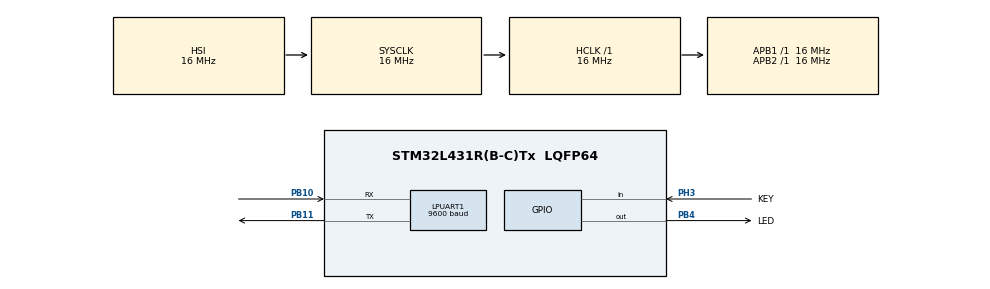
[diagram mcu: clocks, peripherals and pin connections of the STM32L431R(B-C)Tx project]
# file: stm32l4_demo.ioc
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Dma.LPUART_RX.0.Direction=DMA_PERIPH_TO_MEMORY
Dma.LPUART_RX.0.Instance=DMA2_Channel7
Dma.LPUART_RX.0.MemDataAlignment=DMA_MDATAALIGN_BYTE
Dma.LPUART_RX.0.MemInc=DMA_MINC_ENABLE
Dma.LPUART_RX.0.Mode=DMA_CIRCULAR
Dma.LPUART_RX.0.PeriphDataAlignment=DMA_PDATAALIGN_BYTE
Dma.LPUART_RX.0.PeriphInc=DMA_PINC_DISABLE
Dma.LPUART_RX.0.Priority=DMA_PRIORITY_LOW
Dma.LPUART_TX.1.Direction=DMA_MEMORY_TO_PERIPH
Dma.LPUART_TX.1.Instance=DMA2_Channel6
Dma.LPUART_TX.1.MemDataAlignment=DMA_MDATAALIGN_BYTE
Dma.LPUART_TX.1.MemInc=DMA_MINC_ENABLE
Dma.LPUART_TX.1.Mode=DMA_NORMAL
Dma.LPUART_TX.1.PeriphDataAlignment=DMA_PDATAALIGN_BYTE
Dma.LPUART_TX.1.PeriphInc=DMA_PINC_DISABLE
Dma.LPUART_TX.1.Priority=DMA_PRIORITY_LOW
Dma.Request0=LPUART_RX
Dma.Request1=LPUART_TX
IWDG.Prescaler=IWDG_PRESCALER_128
IWDG.Reload=2500
IWDG.Window=2500
LPUART1.BaudRate=9600
LPUART1.WordLength=UART_WORDLENGTH_8B
Mcu.Family=STM32L4
Mcu.Name=STM32L431R(B-C)Tx
Mcu.Package=LQFP64
NVIC.DMA2_Channel6_IRQn=true\:8\:0\:true\:false\:true\:false\:true\:true
NVIC.DMA2_Channel7_IRQn=true\:7\:0\:true\:false\:true\:false\:true\:true
NVIC.LPUART1_IRQn=true\:6\:0\:true\:false\:true\:true\:true\:true
NVIC.PriorityGroup=NVIC_PRIORITYGROUP_4
NVIC.RTC_WKUP_IRQn=true\:1\:0\:true\:false\:true\:true\:true\:true
PA13\ (JTMS-SWDIO).Mode=Serial_Wire
PA13\ (JTMS-SWDIO).Signal=SYS_JTMS-SWDIO
PA14\ (JTCK-SWCLK).Mode=Serial_Wire
PA14\ (JTCK-SWCLK).Signal=SYS_JTCK-SWCLK
PB10.GPIO_Speed=GPIO_SPEED_FREQ_LOW
PB10.Mode=Asynchronous
PB10.Signal=LPUART1_RX
PB11.GPIO_Speed=GPIO_SPEED_FREQ_LOW
PB11.Mode=Asynchronous
PB11.Signal=LPUART1_TX
PB4\ (NJTRST).GPIO_Label=LED
PB4\ (NJTRST).GPIO_PuPd=GPIO_PULLUP
PB4\ (NJTRST).Signal=GPIO_Output
PC14-OSC32_IN\ (PC14).Mode=LSE-External-Oscillator
PC14-OSC32_IN\ (PC14).Signal=RCC_OSC32_IN
PC15-OSC32_OUT\ (PC15).Mode=LSE-External-Oscillator
PC15-OSC32_OUT\ (PC15).Signal=RCC_OSC32_OUT
PH3-BOOT0.GPIO_Label=KEY
PH3-BOOT0.Signal=GPIO_Input
ProjectManager.HeapSize=0x400
ProjectManager.StackSize=0x800
ProjectManager.TargetToolchain=Makefile
RCC.ADCFreq_Value=64000000
RCC.AHBFreq_Value=16000000
RCC.APB1Freq_Value=16000000
RCC.APB1TimFreq_Value=16000000
RCC.APB2Freq_Value=16000000
RCC.APB2TimFreq_Value=16000000
RCC.CortexFreq_Value=16000000
RCC.HCLKFreq_Value=16000000
RCC.HSE_VALUE=8000000
RCC.HSI48_VALUE=48000000
RCC.HSI_VALUE=16000000
RCC.LPUART1CLockSelection=RCC_LPUART1CLKSOURCE_LSE
RCC.MSIClockRange=RCC_MSIRANGE_9
RCC.MSI_VALUE=24000000
RCC.PLLN=10
RCC.PLLSourceVirtual=RCC_PLLSOURCE_HSI
RCC.RTCClockSelection=RCC_RTCCLKSOURCE_LSE
RCC.SYSCLKFreq_VALUE=16000000
RCC.SYSCLKSource=RCC_SYSCLKSOURCE_HSI
RCC.VCOOutputFreq_Value=160000000
RTC.AsynchPrediv=15
RTC.Format=RTC_FORMAT_BIN
RTC.SynchPrediv=2047
VP_CRC_VS_CRC.Mode=CRC_Activate
VP_IWDG_VS_IWDG.Mode=IWDG_Activate
VP_RTC_VS_RTC_Activate.Mode=RTC_Enabled
VP_RTC_VS_RTC_Calendar.Mode=RTC_Calendar
VP_RTC_VS_RTC_WakeUp_intern.Mode=WakeUp
board=custom

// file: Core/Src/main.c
/* USER CODE BEGIN Header */
/**
  ******************************************************************************
  * @file           : main.c
  * @brief          : Main program body
  ******************************************************************************
  * @attention
  *
  * Copyright (c) 2023 STMicroelectronics.
  * All rights reserved.
  *
  * This software is licensed under terms that can be found in the LICENSE file
  * in the root directory of this software component.
  * If no LICENSE file comes with this software, it is provided AS-IS.
  *
  ******************************************************************************
  */
/* USER CODE END Header */
#include "main.h"
#include "crc.h"
#include "dma.h"
#include "iwdg.h"
#include "usart.h"
#include "rtc.h"
#include "gpio.h"

/* USER CODE BEGIN Includes */
#include <stdio.h>
#include "device.h"
#include "update.h"
#include "tasks.h"
#include "power.h"
#include "common.h"
/* USER CODE END Includes */

void SystemClock_Config(void);

int main(void)
{
  /* USER CODE BEGIN 1 */
  SCB->VTOR = ADDR_BASE_APP;
  /* USER CODE END 1 */

  /* MCU Configuration--------------------------------------------------------*/

  /* Reset of all peripherals, Initializes the Flash interface and the Systick. */
  HAL_Init();

  /* Configure the system clock */
  SystemClock_Config();

  /* Initialize all configured peripherals */
  MX_GPIO_Init();
  MX_DMA_Init();
  MX_LPUART1_UART_Init();
  MX_RTC_Init();
  MX_IWDG_Init();
  MX_CRC_Init();
  /* USER CODE BEGIN 2 */
  uart_config();
  boot_param_check_upgrade();
  LL_IWDG_ReloadCounter(IWDG);
  LL_GPIO_SetOutputPin(LED_GPIO_Port, LED_Pin);
  //rtc_wake_init();
  tasks_init();
  frame_parse_register(FRAME_TYPE_DEBUG, print_frame);
  LL_IWDG_ReloadCounter(IWDG);
  /* USER CODE END 2 */

  /* Infinite loop */
  /* USER CODE BEGIN WHILE */
  while (1)
  {
    uart_frame_parse();
    /* USER CODE END WHILE */

    /* USER CODE BEGIN 3 */
    tasks_poll();
  }
  /* USER CODE END 3 */
}

void SystemClock_Config(void)
{
  RCC_OscInitTypeDef RCC_OscInitStruct = {0};
  RCC_ClkInitTypeDef RCC_ClkInitStruct = {0};

  /** Configure the main internal regulator output voltage
  */
  if (HAL_PWREx_ControlVoltageScaling(PWR_REGULATOR_VOLTAGE_SCALE1) != HAL_OK)
  {
    Error_Handler();
  }

  /** Configure LSE Drive Capability
  */
  HAL_PWR_EnableBkUpAccess();
  __HAL_RCC_LSEDRIVE_CONFIG(RCC_LSEDRIVE_LOW);

  /** Initializes the RCC Oscillators according to the specified parameters
  * in the RCC_OscInitTypeDef structure.
  */
  RCC_OscInitStruct.OscillatorType = RCC_OSCILLATORTYPE_HSI|RCC_OSCILLATORTYPE_LSI
                              |RCC_OSCILLATORTYPE_LSE;
  RCC_OscInitStruct.LSEState = RCC_LSE_ON;
  RCC_OscInitStruct.HSIState = RCC_HSI_ON;
  RCC_OscInitStruct.HSICalibrationValue = RCC_HSICALIBRATION_DEFAULT;
  RCC_OscInitStruct.LSIState = RCC_LSI_ON;
  RCC_OscInitStruct.PLL.PLLState = RCC_PLL_NONE;
  if (HAL_RCC_OscConfig(&RCC_OscInitStruct) != HAL_OK)
  {
    Error_Handler();
  }

  /** Initializes the CPU, AHB and APB buses clocks
  */
  RCC_ClkInitStruct.ClockType = RCC_CLOCKTYPE_HCLK|RCC_CLOCKTYPE_SYSCLK
                              |RCC_CLOCKTYPE_PCLK1|RCC_CLOCKTYPE_PCLK2;
  RCC_ClkInitStruct.SYSCLKSource = RCC_SYSCLKSOURCE_HSI;
  RCC_ClkInitStruct.AHBCLKDivider = RCC_SYSCLK_DIV1;
  RCC_ClkInitStruct.APB1CLKDivider = RCC_HCLK_DIV1;
  RCC_ClkInitStruct.APB2CLKDivider = RCC_HCLK_DIV1;

  if (HAL_RCC_ClockConfig(&RCC_ClkInitStruct, FLASH_LATENCY_0) != HAL_OK)
  {
    Error_Handler();
  }
}

void Error_Handler(void)
{
  /* USER CODE BEGIN Error_Handler_Debug */
  uint32_t pc, lr, sp;
  __disable_irq();
  __ASM volatile("MOV %0, pc"
                 : "=r"(pc));
  __ASM volatile("MOV %0, lr"
                 : "=r"(lr));
  __ASM volatile("MOV %0, sp"
                 : "=r"(sp));
  stack_backtrace(pc, lr, sp);
  /* User can add his own implementation to report the HAL error return state */
  while (1)
  {
  }
  /* USER CODE END Error_Handler_Debug */
}
